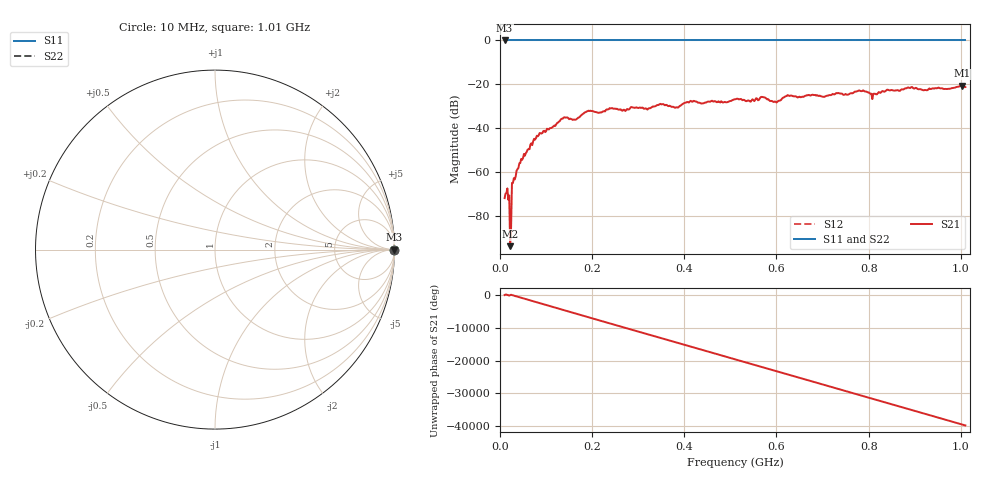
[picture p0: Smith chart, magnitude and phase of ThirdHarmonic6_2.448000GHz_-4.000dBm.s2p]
! 8/17/2025 4:21:08 AM
! C:\ANRITSUVNA\TEMP\TEMP.S2P
! CHANNEL.1
! TR.MEASUREMENT
! RAW.DATA
! RF.CORRECTION.OFF
! AVERAGING.OFF
! IF.BANDWIDTH: 5KHZ
! SWEEPTYPE:  FREQ.SWEEP(Linear)
! Reference Plane Port Info
! PORT:  PORT1  PORT2
! DISTANCE:  0  m  0  m
! TIME:  0  s  0  s
! PHASE.OFFSET:  0  deg.  0  deg.
! LOSS:  0  dB  0  dB
! REF.LOSS:  0  dB  0  dB
! REF.FREQ:  0  Hz  0  Hz
! Power Info
! POWER:  -20  dBm  -20  dBm
! EFF.POWER:  -20  dBm  -20  dBm
! SOURCE.ATTEN:  0  dB  0  dB
! TEST.ATTEN:  0  dB  0  dB
# GHZ S RI R 50.0
! FREQ.GHZ  S11RE  S11IM  S21RE  S21IM  S12RE  S12IM  S22RE  S22IM
!; PortSelection: Port_12
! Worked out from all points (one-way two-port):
!   501 points, 10 MHz to 1.01 GHz, reference 50 ohm
!   highest |S21| = -20.65 dB at 1.002 GHz (marker M1); lowest = -93.9 dB at 22 MHz (marker M2)
!   lowest |S11| = 0.0 dB at 10 MHz (marker M3)
!   |S11| at or under -10 dB: nowhere
!   |S22| runs from 0.0 to 0.0 dB; largest |S21 - S12| = 1.1
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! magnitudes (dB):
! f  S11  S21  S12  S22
! 10 MHz  0.0  -71.9  0.0  0.0
! 16 MHz  0.0  -67.5  0.0  0.0
! 22 MHz  0.0  -93.9  0.0  0.0
! 26 MHz  0.0  -65.0  0.0  0.0
! 30 MHz  0.0  -62.8  0.0  0.0
! 42 MHz  0.0  -56.1  0.0  0.0
! 76 MHz  0.0  -45.3  0.0  0.0
! 136 MHz  0.0  -35.7  0.0  0.0
! 178 MHz  0.0  -33.8  0.0  0.0
! 344 MHz  0.0  -29.4  0.0  0.0
! 382 MHz  0.0  -30.6  0.0  0.0
! 416 MHz  0.0  -27.9  0.0  0.0
! 510 MHz  0.0  -26.8  0.0  0.0
! 570 MHz  0.0  -25.8  0.0  0.0
! 598 MHz  0.0  -27.9  0.0  0.0
! 624 MHz  0.0  -24.9  0.0  0.0
! 678 MHz  0.0  -24.8  0.0  0.0
! 784 MHz  0.0  -23.2  0.0  0.0
! 812 MHz  0.0  -24.3  0.0  0.0
! 844 MHz  0.0  -22.7  0.0  0.0
! 1.002 GHz  0.0  -20.7  0.0  0.0
! 1.01 GHz  0.0  -21.3  0.0  0.0
